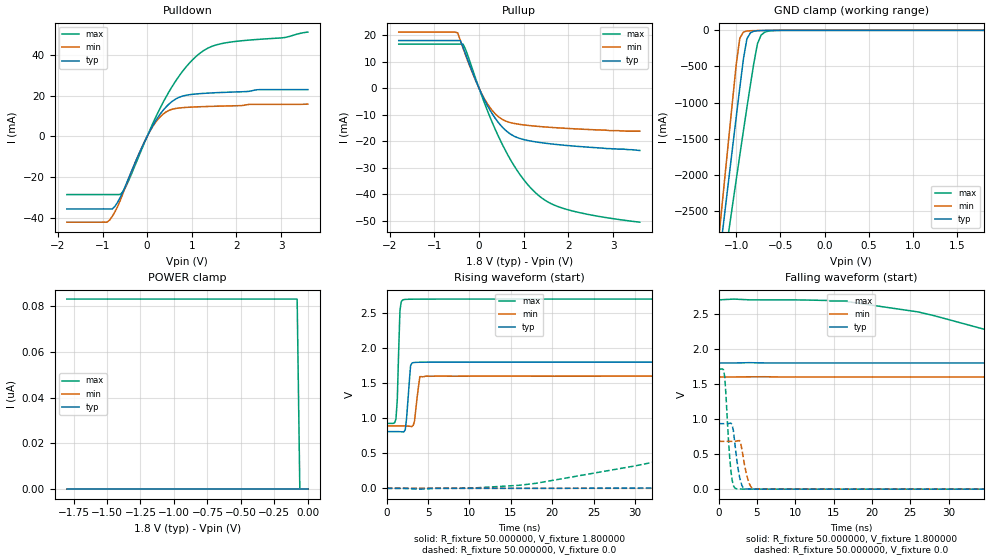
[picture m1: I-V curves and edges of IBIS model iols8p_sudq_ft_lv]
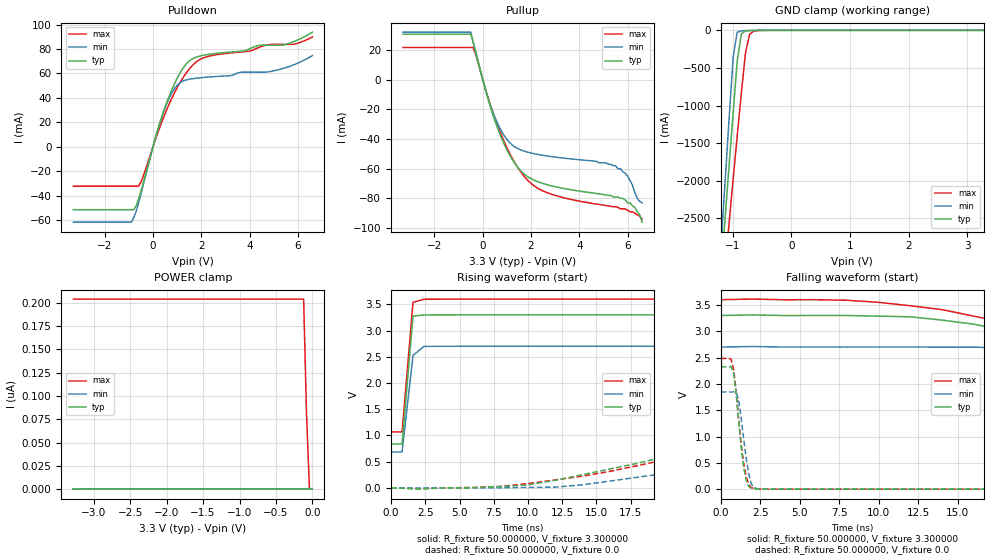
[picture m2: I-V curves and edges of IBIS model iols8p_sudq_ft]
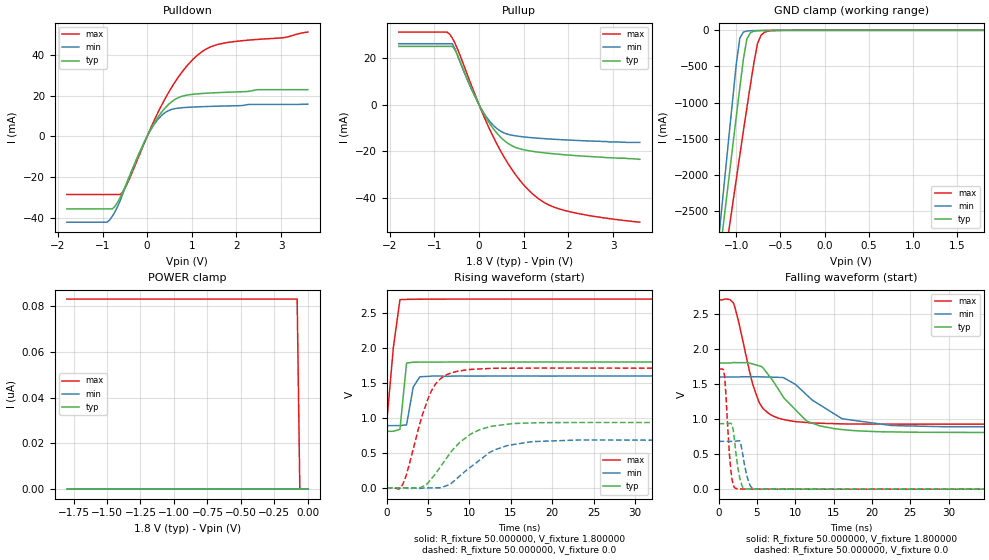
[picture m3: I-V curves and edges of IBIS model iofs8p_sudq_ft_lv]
| IBIS file stm32c0_ufqfpn28.ibs
| Created by s2ibis version 1.1 (customized version)
| North Carolina State University, ERL, 2006
[IBIS ver] 4.2
[File name] stm32c0_ufqfpn28.ibs
[File Rev] 1.1
[Date]  08-08-2022
[Source] Data Created at STMicroelectronics
[Notes]  File originated from ELDO simulations.
[Disclaimer]  This information is for modeling purpose only and is
   not guaranted. The information is subject to change without
   notice.
[Copyright] Copyright 2013 STMicroelectronics Inc.
|   Component stm32c0_ufqfpn28
[Component] stm32c0_ufqfpn28
[Manufacturer] STMicroelectronics
[Package]
| variable   typ   min   max
R_pkg  0  NA  NA
L_pkg  0  NA  NA
C_pkg  0  NA  NA
[Pin]   signal_name   model_name
1  PC14  io8prog2m25m50m120m_sudq_i2c_ft
2  PC15  io8prog2m25m50m120m_sudq_ft
3  VDD  power
4  VSS  gnd
5  PF2  ioreset_ft_v33
6  PA0  io8prog2m25m50m120m_sudq_ft
7  PA1  io8prog2m25m50m120m_sudq_ft
8  PA2  io8prog2m25m50m120m_sudq_ft
9  PA3  io8prog2m25m50m120m_sudq_ft
10  PA4  io8prog2m25m50m120m_sudq_ft
11  PA5  io8prog2m25m50m120m_sudq_ft
12  PA6  io8prog2m25m50m120m_sudq_ft
13  PA7  io8prog2m25m50m120m_sudq_ft
14  PB0  io8prog2m25m50m120m_sudq_ft
15  PB1  io8prog2m25m50m120m_sudq_ft
16  PA8  io8prog2m25m50m120m_sudq_ft
17  PC6  io8prog2m25m50m120m_sudq_ft
18  PA11  io8prog2m25m50m120m_sudq_i2c_ft
19  PA12  io8prog2m25m50m120m_sudq_i2c_ft
20  PA13  io8prog2m25m50m120m_sudq_ft
21  PA14  io8prog2m25m50m120m_sudq_ft
22  PA15  io8prog2m25m50m120m_sudq_ft
23  PB3  io8prog2m25m50m120m_sudq_ft
24  PB4  io8prog2m25m50m120m_sudq_ft
25  PB5  io8prog2m25m50m120m_sudq_i2c_ft
26  PB6  io8prog2m25m50m120m_sudq_i2c_ft
27  PB7  io8prog2m25m50m120m_sudq_i2c_ft
28  PB8  io8prog2m25m50m120m_sudq_i2c_ft
[Package Model]   453-ufqfpn-4x4-28l-220510
[Pin Mapping]   pulldown_ref   pullup_ref   | Comment
1  gndio  vddiom
2  gndio  vddiom
3  nc  vddiom
4  gndio  nc
5  gndio  vddiom
6  gndio  vddiom
7  gndio  vddiom
8  gndio  vddiom
9  gndio  vddiom
10  gndio  vddiom
11  gndio  vddiom
12  gndio  vddiom
13  gndio  vddiom
14  gndio  vddiom
15  gndio  vddiom
16  gndio  vddiom
17  gndio  vddiom
18  gndio  vddiom
19  gndio  vddiom
20  gndio  vddiom
21  gndio  vddiom
22  gndio  vddiom
23  gndio  vddiom
24  gndio  vddiom
25  gndio  vddiom
26  gndio  vddiom
27  gndio  vddiom
28  gndio  vddiom
[Model Selector] io8prog2m25m50m120m_sudq_ft
iols8p_sudq_ft_pd_lv  "IO low speed, PD=40kOhm - 1P8V"
iols8p_sudq_ft_pu_lv  "IO low speed, PU=40kOhm - 1P8V"
iols8p_sudq_ft_lv  "IO low speed - 1P8V"
iols8p_sudq_ft_pd  "IO low speed, PD=40kOhm - 3P3V"
iols8p_sudq_ft_pu  "IO low speed, PU=40kOhm - 3P3V"
iols8p_sudq_ft  "IO low speed - 3P3V"
iofs8p_sudq_ft_pd_lv  "IO full speed, PD=40kOhm - 1P8V"
iofs8p_sudq_ft_pu_lv  "IO full speed, PU=40kOhm - 1P8V"
iofs8p_sudq_ft_lv  "IO full speed - 1P8V"
iofs8p_sudq_ft_pd  "IO full speed, PD=40kOhm - 3P3V"
iofs8p_sudq_ft_pu  "IO full speed, PU=40kOhm - 3P3V"
iofs8p_sudq_ft  "IO full speed - 3P3V"
ioms8p_sudq_ft_pd_lv  "IO medium speed, PD=40kOhm - 1P8V"
ioms8p_sudq_ft_pu_lv  "IO medium speed, PU=40kOhm - 1P8V"
ioms8p_sudq_ft_lv  "IO medium speed - 1P8V"
ioms8p_sudq_ft_pd  "IO medium speed, PD=40kOhm - 3P3V"
ioms8p_sudq_ft_pu  "IO medium speed, PU=40kOhm - 3P3V"
ioms8p_sudq_ft  "IO medium speed - 3P3V"
iohs8p_sudq_ft_pd_lv  "IO high speed, PD=40kOhm - 1P8V"
iohs8p_sudq_ft_pu_lv  "IO high speed, PU=40kOhm - 1P8V"
iohs8p_sudq_ft_lv  "IO high speed - 1P8V"
iohs8p_sudq_ft_pd  "IO high speed, PD=40kOhm - 3P3V"
iohs8p_sudq_ft_pu  "IO high speed, PU=40kOhm - 3P3V"
iohs8p_sudq_ft  "IO high speed - 3P3V"
[Model Selector] io8prog2m25m50m120m_sudq_i2c_ft
io8prog_1v8_i2c_pd  "5V Tol GPIO 1.8V range i2c functionality with pull down"
io8prog_1v8_i2c_pu  "5V Tol GPIO 1.8V range i2c functionality with pull up"
io8prog_1v8_i2c  "5V Tol GPIO 1.8V range i2c functionality"
io8prog_3v3_i2c_pd  "5V Tol GPIO 3.3V range i2c functionality with pull down"
io8prog_3v3_i2c_pu  "5V Tol GPIO 3.3V range i2c functionality with pull up"
io8prog_3v3_i2c  "5V Tol GPIO 3.3V range i2c functionality"
iols8p_sudq_ft_pd_lv  "IO low speed, PD=40kOhm - 1P8V"
iols8p_sudq_ft_pu_lv  "IO low speed, PU=40kOhm - 1P8V"
iols8p_sudq_ft_lv  "IO low speed - 1P8V"
iols8p_sudq_ft_pd  "IO low speed, PD=40kOhm - 3P3V"
iols8p_sudq_ft_pu  "IO low speed, PU=40kOhm - 3P3V"
iols8p_sudq_ft  "IO low speed - 3P3V"
iofs8p_sudq_ft_pd_lv  "IO full speed, PD=40kOhm - 1P8V"
iofs8p_sudq_ft_pu_lv  "IO full speed, PU=40kOhm - 1P8V"
iofs8p_sudq_ft_lv  "IO full speed - 1P8V"
iofs8p_sudq_ft_pd  "IO full speed, PD=40kOhm - 3P3V"
iofs8p_sudq_ft_pu  "IO full speed, PU=40kOhm - 3P3V"
iofs8p_sudq_ft  "IO full speed - 3P3V"
ioms8p_sudq_ft_pd_lv  "IO medium speed, PD=40kOhm - 1P8V"
ioms8p_sudq_ft_pu_lv  "IO medium speed, PU=40kOhm - 1P8V"
ioms8p_sudq_ft_lv  "IO medium speed - 1P8V"
ioms8p_sudq_ft_pd  "IO medium speed, PD=40kOhm - 3P3V"
ioms8p_sudq_ft_pu  "IO medium speed, PU=40kOhm - 3P3V"
ioms8p_sudq_ft  "IO medium speed - 3P3V"
iohs8p_sudq_ft_pd_lv  "IO high speed, PD=40kOhm - 1P8V"
iohs8p_sudq_ft_pu_lv  "IO high speed, PU=40kOhm - 1P8V"
iohs8p_sudq_ft_lv  "IO high speed - 1P8V"
iohs8p_sudq_ft_pd  "IO high speed, PD=40kOhm - 3P3V"
iohs8p_sudq_ft_pu  "IO high speed, PU=40kOhm - 3P3V"
iohs8p_sudq_ft  "IO high speed - 3P3V"
[Model Selector] ioreset_ft_v33
ioreset_1v2_pu  "RESET 1.2V range with PU"
ioreset_1v2  "RESET 1.2V range"
ioreset_1v8_pu  "RESET 1.8V range with PU"
ioreset_1v8  "RESET 1.8V range"
ioreset_3v3_pu  "RESET 3.3V range with PU"
ioreset_3v3  "RESET 3.3V range"
[Define Package Model]  453-ufqfpn-4x4-28l-220510
[Manufacturer]  Unknown
[OEM]  Unknown
[Description]  None
[Number Of Pins]  28
[Pin Numbers]
| Pin Num   Terminal Name
6 | PA0
18 | PA11
19 | PA12
20 | PA13
21 | PA14
22 | PA15
7 | PA1
8 | PA2
9 | PA3
10 | PA4
11 | PA5
12 | PA6
13 | PA7
16 | PA8
14 | PB0
15 | PB1
23 | PB3
24 | PB4
25 | PB5
26 | PB6
27 | PB7
28 | PB8
1 | PC14
2 | PC15
17 | PC6
5 | PF2
3 | VDD
4 | VSS
[Model Data]
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[End Model Data]
[End Package Model]
| Models and submodels in the file (36): iols8p_sudq_ft_pd_lv (I/O), iols8p_sudq_ft_pu_lv (I/O), iols8p_sudq_ft_lv (I/O), iols8p_sudq_ft_pd (I/O), iols8p_sudq_ft_pu (I/O), iols8p_sudq_ft (I/O), iofs8p_sudq_ft_pd_lv (I/O), iofs8p_sudq_ft_pu_lv (I/O), iofs8p_sudq_ft_lv (I/O), iofs8p_sudq_ft_pd (I/O), iofs8p_sudq_ft_pu (I/O), iofs8p_sudq_ft (I/O), ioms8p_sudq_ft_pd_lv (I/O), ioms8p_sudq_ft_pu_lv (I/O), ioms8p_sudq_ft_lv (I/O), ioms8p_sudq_ft_pd (I/O), ioms8p_sudq_ft_pu (I/O), ioms8p_sudq_ft (I/O), iohs8p_sudq_ft_pd_lv (I/O), iohs8p_sudq_ft_pu_lv (I/O), iohs8p_sudq_ft_lv (I/O), iohs8p_sudq_ft_pd (I/O), iohs8p_sudq_ft_pu (I/O), iohs8p_sudq_ft (I/O), io8prog_1v8_i2c_pd (I/O_open_drain), io8prog_1v8_i2c_pu (I/O_open_drain), io8prog_1v8_i2c (I/O_open_drain), io8prog_3v3_i2c_pd (I/O_open_drain), io8prog_3v3_i2c_pu (I/O_open_drain), io8prog_3v3_i2c (I/O_open_drain), ioreset_1v2_pu (I/O_open_drain), ioreset_1v2 (I/O_open_drain), ioreset_1v8_pu (I/O_open_drain), ioreset_1v8 (I/O_open_drain), ioreset_3v3_pu (I/O_open_drain), ioreset_3v3 (I/O_open_drain)
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|   Model iols8p_sudq_ft_lv
[Model]  iols8p_sudq_ft_lv
Model_type I/O
Polarity   Non-Inverting
Enable   Active-Low
Vinl =   0.540000V
Vinh =   1.260000V
Vmeas =  0.900000V
Cref =   50.000000pF
Rref =   100.000000M
Vref =   0.0V
C_comp   1.984800pF   1.899400pF   2.077500pF
[Temperature Range]   25.000000   -40.000000   0.125000k
[Pullup Reference]   1.800000V   1.600000V   2.700000V
[Pulldown Reference]   0.0V   0.0V   0.0V
[POWER Clamp Reference]   1.800000V   1.600000V   2.700000V
[GND Clamp Reference]   0.0V   0.0V   0.0V
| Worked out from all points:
|   slope of the pulldown table from 0 to 0.27 V, typ, clamps not added: 26.4 ohm
|   slope of the pullup table from 0 to 0.27 V, typ, clamps not added: 30.1 ohm
|   GND clamp passes 1 mA (typ) near -0.61 V on its own axis
|   rising waveform, R_fixture 50.000000, V_fixture 1.800000: 20-80 % time 379ps typ, 422ps min, 266ps max; typ from 0.809 V to 1.8 V
|   rising waveform, R_fixture 50.000000, V_fixture 0.0: 20-80 % time 67.1ns typ, 74.1ns min, 45.1ns max; typ from 0 V to 0.934 V
|   falling waveform, R_fixture 50.000000, V_fixture 1.800000: 20-80 % time 72.9ns typ, 82.7ns min, 36.9ns max; typ from 1.8 V to 0.809 V
|   falling waveform, R_fixture 50.000000, V_fixture 0.0: 20-80 % time 693ps typ, 759ps min, 596ps max; typ from 0.934 V to 0 V
[Pulldown]
|Voltage   I(typ)   I(min)   I(max)
-1.8V     -35.64mA   -42.15mA   -28.59mA
-900mV    -35.64mA   -42.15mA   -28.59mA
-780mV    -35.64mA   -39.2mA    -28.59mA
-600mV    -29.83mA   -31.3mA    -28.52mA
-420mV    -20.8mA    -21.07mA   -21.98mA
60mV      2.604mA    2.459mA    3.062mA
240mV     9.303mA    8.31mA     11.61mA
480mV     15.67mA    12.64mA    21.52mA
720mV     19.18mA    13.9mA     29.74mA
960mV     20.46mA    14.3mA     36.27mA
1.44V     21.29mA    14.7mA     44.06mA
3.6V      22.91mA    15.79mA    51.15mA
[Pullup]
|Voltage   I(typ)   I(min)   I(max)
-1.8V     18.05mA    21.25mA    16.71mA
-540mV    18.05mA    21.25mA    16.71mA
-480mV    18.05mA    20.95mA    16.71mA
-420mV    18.05mA    18.11mA    16.71mA
-360mV    15.57mA    15.21mA    16.71mA
60mV      -2.268mA   -2.095mA   -2.822mA
360mV     -11.31mA   -9.605mA   -15.45mA
600mV     -15.96mA   -12.42mA   -23.82mA
840mV     -18.52mA   -13.44mA   -30.72mA
1.38V     -20.52mA   -14.48mA   -41.14mA
2.1V      -21.8mA    -15.27mA   -46.39mA
3.6V      -23.5mA    -16.2mA    -50.6mA
[GND_clamp]
|Voltage   I(typ)   I(min)   I(max)
-1.8V     -9.477A    -9.805A    -9.016A
-1.2V     -3.243A    -2.9A      -3.759A
-1.16V    -2.83A     -2.409A    -3.417A
-1.12V    -2.418A    -1.919A    -3.076A
-1.08V    -2.008A    -1.431A    -2.736A
-1V       -1.194A    -466mA     -2.061A
-960mV    -792.8mA   -108.7mA   -1.727A
-920mV    -402mA     -24.35mA   -1.396A
-880mV    -117.8mA   -9.188mA   -1.071A
-760mV    -5.896mA   -2.88mA    -183.8mA
-680mV    -2.395mA   -1.099mA   -26.61mA
1.8V      0A         0A         0A
[POWER_clamp]
|Voltage   I(typ)   I(min)   I(max)
-1.8V     0A         0A         83.17nA
-80mV     0A         0A         83.17nA
-60mV     0A         0A         0A
0V        0A         0A         0A
[Ramp]
| variable   typ   min   max
dV/dt_r  0.56086/67.04984n   0.40932/74.04359n   1.02762/44.92249n
dV/dt_f  0.59461/72.85692n   0.42627/82.62088n   1.06394/36.88396n
R_load = 50.000000
[Rising Waveform]
R_fixture= 50.000000
V_fixture= 1.800000
V_fixture_min= 1.600000
V_fixture_max= 2.700000
|time   V(typ)   V(min)   V(max)
0s        808.7mV    889.5mV    926.8mV
1.121ns   808.8mV    889.6mV    991.8mV
1.281ns   808.8mV    889.6mV    1.268V
1.602ns   808mV      889.6mV    2.538V
2.082ns   806.2mV    889.7mV    2.693V
2.402ns   999.8mV    888.3mV    2.696V
2.883ns   1.747V     883.6mV    2.698V
3.363ns   1.795V     960.1mV    2.699V
4.164ns   1.799V     1.595V     2.699V
79.76ns   1.8V       1.6V       2.7V
[Rising Waveform]
R_fixture= 50.000000
V_fixture= 0.0
V_fixture_min= 0.0
V_fixture_max= 0.0
|time   V(typ)   V(min)   V(max)
0s        2.099nV    1.863nV    180.8nV
18.02ns   -344.9uV   -50.23uV   71.46mV
32.03ns   3.827mV    -26.67uV   368.8mV
62.06ns   205.1mV    72.71mV    1.127V
78.08ns   362.7mV    142.1mV    1.401V
92.09ns   500.7mV    242.9mV    1.535V
116.1ns   689mV      408.4mV    1.638V
172.2ns   870.2mV    626.6mV    1.697V
238.2ns   928.6mV    674.2mV    1.712V
997ns     934.4mV    682.2mV    1.713V
[Falling Waveform]
R_fixture= 50.000000
V_fixture= 1.800000
V_fixture_min= 1.600000
V_fixture_max= 2.700000
|time   V(typ)   V(min)   V(max)
0s        1.8V       1.6V       2.7V
16.02ns   1.8V       1.6V       2.687V
26.03ns   1.8V       1.6V       2.528V
58.06ns   1.777V     1.6V       1.538V
72.07ns   1.677V     1.6V       1.234V
112.1ns   1.336V     1.547V     1.007V
162.2ns   969.6mV    1.274V     951.1mV
214.2ns   865.1mV    1.024V     935mV
298.3ns   821.2mV    920mV      926.9mV
997ns     808.7mV    889.5mV    926.8mV
[Falling Waveform]
R_fixture= 50.000000
V_fixture= 0.0
V_fixture_min= 0.0
V_fixture_max= 0.0
|time   V(typ)   V(min)   V(max)
0s        934.4mV    682.2mV    1.713V
800.8ps   934.3mV    682.2mV    1.599V
1.602ns   940.7mV    682.1mV    263.3mV
1.922ns   838.1mV    681.6mV    52.75mV
2.402ns   396.2mV    687.9mV    5.068mV
2.883ns   107.6mV    651.3mV    1.837mV
3.203ns   19.47mV    464.8mV    1.429mV
4.004ns   1.584mV    80.01mV    890.5uV
4.645ns   756uV      3.442mV    688.9uV
79.76ns   2.099nV    1.863nV    180.8nV
|   Model iols8p_sudq_ft
[Model]  iols8p_sudq_ft
Model_type I/O
Polarity   Non-Inverting
Enable   Active-Low
Vinl =   0.990000V
Vinh =   2.310000V
Vmeas =  1.650000V
Cref =   50.000000pF
Rref =   100.000000M
Vref =   0.0V
C_comp   2.036400pF   1.984000pF   2.082300pF
[Temperature Range]   25.000000   -40.000000   0.125000k
[Pullup Reference]   3.300000V   2.700000V   3.600000V
[Pulldown Reference]   0.0V   0.0V   0.0V
[POWER Clamp Reference]   3.300000V   2.700000V   3.600000V
[GND Clamp Reference]   0.0V   0.0V   0.0V
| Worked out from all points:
|   slope of the pulldown table from 0 to 0.495 V, typ, clamps not added: 15.4 ohm
|   slope of the pullup table from 0 to 0.495 V, typ, clamps not added: 18.1 ohm
|   GND clamp passes 1 mA (typ) near -0.60 V on its own axis
|   rising waveform, R_fixture 50.000000, V_fixture 3.300000: 20-80 % time 485ps typ, 526ps min, 493ps max; typ from 0.835 V to 3.3 V
|   rising waveform, R_fixture 50.000000, V_fixture 0.0: 20-80 % time 24.3ns typ, 26.2ns min, 30.7ns max; typ from 0 V to 2.33 V
|   falling waveform, R_fixture 50.000000, V_fixture 3.300000: 20-80 % time 21.2ns typ, 25.3ns min, 23.8ns max; typ from 3.3 V to 0.835 V
|   falling waveform, R_fixture 50.000000, V_fixture 0.0: 20-80 % time 470ps typ, 493ps min, 524ps max; typ from 2.33 V to 0 V
[Pulldown]
|Voltage   I(typ)   I(min)   I(max)
-3.3V     -51.63mA   -61.84mA   -32.32mA
-900mV    -51.63mA   -61.84mA   -32.32mA
-800mV    -51.63mA   -58.24mA   -32.32mA
-500mV    -36.51mA   -38.71mA   -28.96mA
400mV     26.66mA    26.58mA    22.18mA
800mV     47.72mA    44.74mA    40.6mA
1.1V      59.79mA    52.18mA    51.93mA
1.5V      70.22mA    55.24mA    63.66mA
2.1V      74.97mA    56.75mA    72.88mA
4.9V      83.19mA    61.75mA    83.83mA
5.9V      86.64mA    67.67mA    84.15mA
6.6V      93.9mA     74.68mA    89.84mA
[Pullup]
|Voltage   I(typ)   I(min)   I(max)
-3.3V     30.51mA    31.92mA    21.54mA
-500mV    30.51mA    31.92mA    21.54mA
-300mV    19.24mA    18.93mA    17.46mA
500mV     -27.53mA   -25.31mA   -25.83mA
1V        -47.29mA   -40.29mA   -45.86mA
1.5V      -60.05mA   -46.83mA   -60.43mA
2V        -66.7mA    -49.43mA   -69.91mA
2.7V      -70.92mA   -51.53mA   -76.32mA
5.5V      -79mA      -58mA      -85.6mA
6V        -83mA      -65mA      -88mA
6.3V      -86mA      -76mA      -90mA
6.6V      -96mA      -83mA      -94mA
[GND_clamp]
|Voltage   I(typ)   I(min)   I(max)
-3.3V     -9.812A    -9.822A    -9.937A
-1.2V     -3.251A    -2.905A    -3.763A
-1.13V    -2.527A    -2.046A    -3.165A
-1.06V    -1.808A    -1.191A    -2.57A
-990mV    -1.097A    -352.6mA   -1.979A
-920mV    -404.2mA   -25.08mA   -1.398A
-850mV    -46.53mA   -6.503mA   -832.3mA
-780mV    -8.496mA   -3.578mA   -302.4mA
-710mV    -3.383mA   -1.716mA   -53.8mA
-640mV    -1.589mA   -553.8uA   -11.72mA
-360mV    -2.023uA   0A         -84.67uA
3.28V     0A         0A         0A
[POWER_clamp]
|Voltage   I(typ)   I(min)   I(max)
-3.28V    0A         0A         204.1nA
-120mV    0A         0A         204.1nA
-80mV     0A         0A         79.47nA
-40mV     0A         0A         0A
0V        0A         0A         0A
[Ramp]
| variable   typ   min   max
dV/dt_r  1.39458/24.30631n   1.10718/26.01052n   1.49064/30.64439n
dV/dt_f  1.47898/21.10039n   1.21001/25.29034n   1.52118/23.73506n
R_load = 50.000000
[Rising Waveform]
R_fixture= 50.000000
V_fixture= 3.300000
V_fixture_min= 2.700000
V_fixture_max= 3.600000
|time   V(typ)   V(min)   V(max)
0s        835mV      683.3mV    1.065V
800.8ps   835mV      682.8mV    1.066V
1.602ns   3.275V     2.526V     3.539V
2.402ns   3.297V     2.697V     3.596V
79.28ns   3.3V       2.7V       3.6V
[Rising Waveform]
R_fixture= 50.000000
V_fixture= 0.0
V_fixture_min= 0.0
V_fixture_max= 0.0
|time   V(typ)   V(min)   V(max)
0s        2.638nV    1.902nV    194.7nV
10.01ns   54.11mV    6.367mV    80.17mV
14.01ns   251.2mV    56.8mV     222.1mV
22.02ns   729.9mV    344.9mV    641.4mV
34.03ns   1.485V     930.1mV    1.306V
46.05ns   1.977V     1.4V       1.854V
58.06ns   2.168V     1.658V     2.171V
90.09ns   2.29V      1.815V     2.411V
196.2ns   2.326V     1.845V     2.486V
997ns     2.325V     1.845V     2.485V
[Falling Waveform]
R_fixture= 50.000000
V_fixture= 3.300000
V_fixture_min= 2.700000
V_fixture_max= 3.600000
|time   V(typ)   V(min)   V(max)
0s        3.3V       2.7V       3.6V
8.008ns   3.3V       2.7V       3.589V
16.02ns   3.136V     2.699V     3.288V
24.02ns   2.582V     2.575V     2.744V
36.04ns   1.686V     2.036V     1.931V
46.05ns   1.182V     1.509V     1.459V
60.06ns   976.9mV    965.9mV    1.242V
82.08ns   893mV      778.9mV    1.135V
188.2ns   836mV      683.7mV    1.067V
997ns     835mV      683.3mV    1.065V
[Falling Waveform]
R_fixture= 50.000000
V_fixture= 0.0
V_fixture_min= 0.0
V_fixture_max= 0.0
|time   V(typ)   V(min)   V(max)
0s        2.325V     1.845V     2.485V
640.6ps   2.328V     1.845V     2.47V
800.8ps   2.22V      1.847V     2.295V
961ps     1.849V     1.847V     1.879V
1.121ns   1.334V     1.716V     1.353V
1.281ns   821.7mV    1.365V     873.6mV
1.602ns   169.7mV    594.7mV    244.4mV
1.922ns   18.59mV    109.1mV    33.22mV
2.242ns   4.856mV    12mV       7.295mV
79.76ns   2.638nV    1.902nV    194.7nV
|   Model iofs8p_sudq_ft_lv
[Model]  iofs8p_sudq_ft_lv
Model_type I/O
Polarity   Non-Inverting
Enable   Active-Low
Vinl =   0.540000V
Vinh =   1.260000V
Vmeas =  0.900000V
Cref =   40.000000pF
Rref =   100.000000M
Vref =   0.0V
C_comp   1.984800pF   1.899400pF   2.077500pF
[Temperature Range]   25.000000   -40.000000   0.125000k
[Pullup Reference]   1.800000V   1.600000V   2.700000V
[Pulldown Reference]   0.0V   0.0V   0.0V
[POWER Clamp Reference]   1.800000V   1.600000V   2.700000V
[GND Clamp Reference]   0.0V   0.0V   0.0V
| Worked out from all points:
|   slope of the pulldown table from 0 to 0.27 V, typ, clamps not added: 26.4 ohm
|   slope of the pullup table from 0 to 0.27 V, typ, clamps not added: 30.1 ohm
|   GND clamp passes 1 mA (typ) near -0.61 V on its own axis
|   rising waveform, R_fixture 50.000000, V_fixture 1.800000: 20-80 % time 502ps typ, 696ps min, 936ps max; typ from 0.809 V to 1.8 V
|   rising waveform, R_fixture 50.000000, V_fixture 0.0: 20-80 % time 4.11ns typ, 4.63ns min, 2.6ns max; typ from 0 V to 0.934 V
|   falling waveform, R_fixture 50.000000, V_fixture 1.800000: 20-80 % time 4.46ns typ, 5.33ns min, 2.44ns max; typ from 1.8 V to 0.809 V
|   falling waveform, R_fixture 50.000000, V_fixture 0.0: 20-80 % time 695ps typ, 761ps min, 597ps max; typ from 0.934 V to 0 V
[Pulldown]
|Voltage   I(typ)   I(min)   I(max)
-1.8V     -35.64mA   -42.15mA   -28.59mA
-900mV    -35.64mA   -42.15mA   -28.59mA
-780mV    -35.64mA   -39.2mA    -28.59mA
-600mV    -29.83mA   -31.3mA    -28.52mA
-420mV    -20.8mA    -21.07mA   -21.98mA
60mV      2.604mA    2.459mA    3.062mA
240mV     9.303mA    8.31mA     11.61mA
480mV     15.67mA    12.64mA    21.52mA
720mV     19.18mA    13.9mA     29.74mA
960mV     20.46mA    14.3mA     36.27mA
1.44V     21.29mA    14.7mA     44.06mA
3.6V      22.91mA    15.79mA    51.15mA
[Pullup]
|Voltage   I(typ)   I(min)   I(max)
-1.8V     25.2mA     26.35mA    31.36mA
-660mV    25.2mA     26.35mA    30.47mA
-600mV    25.2mA     26.35mA    28.77mA
-540mV    23.79mA    24.11mA    26.53mA
-60mV     2.392mA    2.26mA     2.893mA
300mV     -9.801mA   -8.48mA    -13.12mA
480mV     -13.91mA   -11.33mA   -19.82mA
720mV     -17.48mA   -13.04mA   -27.46mA
1.26V     -20.22mA   -14.3mA    -39.41mA
1.56V     -20.9mA    -14.71mA   -43.14mA
1.98V     -21.62mA   -15.16mA   -45.85mA
3.6V      -23.5mA    -16.2mA    -50.6mA
[GND_clamp]
|Voltage   I(typ)   I(min)   I(max)
-1.8V     -9.477A    -9.805A    -9.016A
-1.2V     -3.243A    -2.9A      -3.759A
-1.16V    -2.83A     -2.409A    -3.417A
-1.12V    -2.418A    -1.919A    -3.076A
-1.08V    -2.008A    -1.431A    -2.736A
-1V       -1.194A    -466mA     -2.061A
-960mV    -792.8mA   -108.7mA   -1.727A
-920mV    -402mA     -24.35mA   -1.396A
-880mV    -117.8mA   -9.188mA   -1.071A
-760mV    -5.896mA   -2.88mA    -183.8mA
-680mV    -2.395mA   -1.099mA   -26.61mA
1.8V      0A         0A         0A
[POWER_clamp]
|Voltage   I(typ)   I(min)   I(max)
-1.8V     0A         0A         83.17nA
-80mV     0A         0A         83.17nA
-60mV     0A         0A         0A
0V        0A         0A         0A
[Ramp]
| variable   typ   min   max
dV/dt_r  0.56056/4.10615n   0.40980/4.64093n   1.02750/2.59632n
dV/dt_f  0.59503/4.45986n   0.42595/5.32206n   1.06403/2.43879n
R_load = 50.000000
[Rising Waveform]
R_fixture= 50.000000
V_fixture= 1.800000
V_fixture_min= 1.600000
V_fixture_max= 2.700000
|time   V(typ)   V(min)   V(max)
0s        808.8mV    889.5mV    927.1mV
800.8ps   808.5mV    889.6mV    2.002V
1.602ns   837.1mV    889.6mV    2.691V
2.402ns   1.785V     900.6mV    2.695V
3.203ns   1.797V     1.441V     2.697V
4.004ns   1.798V     1.589V     2.698V
5.606ns   1.798V     1.6V       2.699V
79.28ns   1.8V       1.6V       2.7V
[Rising Waveform]
R_fixture= 50.000000
V_fixture= 0.0
V_fixture_min= 0.0
V_fixture_max= 0.0
|time   V(typ)   V(min)   V(max)
0s        959.8nV    708.2nV    1.585uV
1.441ns   16.71uV    -614.4nV   -19.31mV
2.082ns   -221.6uV   113.9nV    88.06mV
4.324ns   17.14mV    -4.672mV   1.047V
5.766ns   180.8mV    -549.2uV   1.46V
6.887ns   367.2mV    16.92mV    1.593V
8.649ns   628.5mV    150.9mV    1.669V
12.49ns   874.9mV    510.7mV    1.707V
17.62ns   928.3mV    661.2mV    1.712V
79.76ns   934.4mV    682.2mV    1.713V
[Falling Waveform]
R_fixture= 50.000000
V_fixture= 1.800000
V_fixture_min= 1.600000
V_fixture_max= 2.700000
|time   V(typ)   V(min)   V(max)
0s        1.8V       1.6V       2.7V
1.922ns   1.806V     1.6V       2.659V
4.484ns   1.784V     1.604V     1.483V
5.285ns   1.759V     1.603V     1.238V
8.809ns   1.268V     1.57V      985.4mV
11.53ns   969.6mV    1.341V     949.9mV
13.13ns   905.6mV    1.208V     940.8mV
16.18ns   849.5mV    1.003V     931.2mV
22.58ns   816.6mV    907.5mV    927.8mV
79.76ns   808.8mV    889.5mV    927.1mV
[Falling Waveform]
R_fixture= 50.000000
V_fixture= 0.0
V_fixture_min= 0.0
V_fixture_max= 0.0
|time   V(typ)   V(min)   V(max)
0s        934.4mV    682.2mV    1.713V
800.8ps   934.4mV    682.2mV    1.597V
1.602ns   938.8mV    682.1mV    262.9mV
1.922ns   834.4mV    681.7mV    54.04mV
2.402ns   394.4mV    687.1mV    6.141mV
2.883ns   107.8mV    648.8mV    3.044mV
3.203ns   19.14mV    464mV      2.445mV
4.004ns   2.658mV    80.78mV    1.546mV
4.645ns   1.907mV    3.998mV    1.127mV
79.76ns   959.8nV    708.2nV    1.585uV
